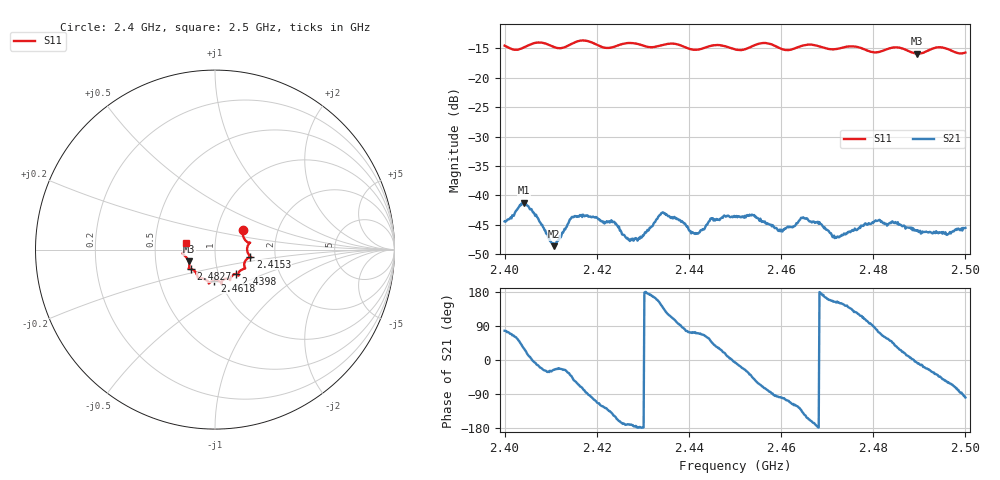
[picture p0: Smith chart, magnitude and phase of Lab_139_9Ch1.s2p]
# Hz S RI R 50
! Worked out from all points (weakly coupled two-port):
!   601 points, 2.4 GHz to 2.5 GHz, reference 50 ohm
!   highest |S21| = -41.29 dB at 2.4042 GHz (marker M1); lowest = -48.7 dB at 2.4107 GHz (marker M2)
!   lowest |S11| = -15.9 dB at 2.4895 GHz (marker M3), VSWR 1.38, Z = 37 - j5.01 ohm
!   |S11| at or under -10 dB: start of sweep to end of sweep
!   S12 and S22 are empty: the file has one direction only
!   S11 on the Smith chart (normalised r, x): 2.4 GHz: 1.33, +0.29; 2.4153 GHz: 1.49, -0.12; 2.4398 GHz: 1.21, -0.34; 2.4618 GHz: 0.94, -0.33; 2.4827 GHz: 0.75, -0.17; 2.5 GHz: 0.72, +0.06
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2.4e9  0.1549 0.1066  0.00133 0.00583  0 0  0 0
2.404167e9  0.1752 0.046  0.00741 0.00441  0 0  0 0
2.410667e9  0.1822 0.0196  0.00332 -0.00159  0 0  0 0
2.415333e9  0.1973 -0.0391  0.00367 -0.00554  0 0  0 0
2.416667e9  0.2031 -0.0433  0.00213 -0.00645  0 0  0 0
2.423667e9  0.1628 -0.0846  -0.00499 -0.00325  0 0  0 0
2.427667e9  0.1678 -0.1045  -0.0041 -0.000582  0 0  0 0
2.433333e9  0.1294 -0.134  -0.00597 0.00271  0 0  0 0
2.434667e9  0.1289 -0.1424  -0.00475 0.00509  0 0  0 0
2.439833e9  0.1151 -0.1356  0.00147 0.005  0 0  0 0
2.441833e9  0.0965 -0.1442  0.00159 0.00447  0 0  0 0
2.444667e9  0.0842 -0.1667  0.00395 0.00492  0 0  0 0
2.45e9  0.0653 -0.1619  0.00648 -0.000779  0 0  0 0
2.456333e9  0.039 -0.1941  0.0016 -0.00567  0 0  0 0
2.461833e9  -0.00308 -0.1728  -0.00194 -0.00503  0 0  0 0
2.466667e9  -0.0348 -0.1883  -0.00557 -0.00179  0 0  0 0
2.472167e9  -0.0717 -0.161  -0.004 0.00192  0 0  0 0
2.482667e9  -0.1349 -0.1088  0.00293 0.0049  0 0  0 0
2.483333e9  -0.1401 -0.1085  0.00334 0.00464  0 0  0 0
2.4895e9  -0.146 -0.066  0.00493 -0.000616  0 0  0 0
2.494333e9  -0.1809 -0.0212  0.00347 -0.00338  0 0  0 0
2.5e9  -0.1594 0.0388  -0.000818 -0.0052  0 0  0 0
